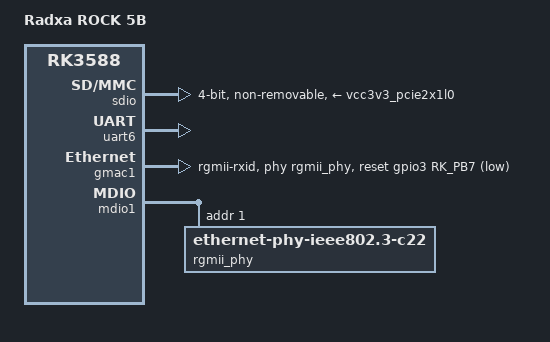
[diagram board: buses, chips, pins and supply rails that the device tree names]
// SPDX-License-Identifier: (GPL-2.0+ OR MIT)

/dts-v1/;

#include "rk3588-rock-5b.dtsi"

/ {
	model = "Radxa ROCK 5B";
	compatible = "radxa,rock-5b", "rockchip,rk3588";
};

&sdio {
	max-frequency = <200000000>;
	no-sd;
	no-mmc;
	non-removable;
	bus-width = <4>;
	cap-sdio-irq;
	disable-wp;
	keep-power-in-suspend;
	wakeup-source;
	sd-uhs-sdr12;
	sd-uhs-sdr25;
	sd-uhs-sdr50;
	sd-uhs-sdr104;
	vmmc-supply = <&vcc3v3_pcie2x1l0>;
	vqmmc-supply = <&vcc_1v8_s3>;
	pinctrl-names = "default";
	pinctrl-0 = <&sdiom0_pins>;
	status = "okay";
};

&uart6 {
	pinctrl-names = "default";
	pinctrl-0 = <&uart6m1_xfer &uart6m1_ctsn &uart6m1_rtsn>;
	status = "okay";
};

&pinctrl {
	usb {
		usbc_sbu_dc: usbc-sbu-dc {
			rockchip,pins = <4 RK_PA6 RK_FUNC_GPIO &pcfg_pull_none>,
					<4 RK_PA7 RK_FUNC_GPIO &pcfg_pull_none>;
		};

		vcc5v0_host_en: vcc5v0-host-en {
			rockchip,pins = <4 RK_PB0 RK_FUNC_GPIO &pcfg_pull_none>;
		};
	};
};

&usb_con {
	power-role = "sink";
};

&usbdp_phy0 {
	pinctrl-names = "default";
	pinctrl-0 = <&usbc_sbu_dc>;
	sbu1-dc-gpios = <&gpio4 RK_PA6 GPIO_ACTIVE_HIGH>;
	sbu2-dc-gpios = <&gpio4 RK_PA7 GPIO_ACTIVE_HIGH>;
};

&vcc5v0_host {
	enable-active-high;
	gpio = <&gpio4 RK_PB0 GPIO_ACTIVE_HIGH>;
	pinctrl-names = "default";
	pinctrl-0 = <&vcc5v0_host_en>;
};

&gmac1 {
	clock_in_out = "output";
	phy-handle = <&rgmii_phy>;
	phy-mode = "rgmii-rxid";
	pinctrl-0 = <&gmac1_rgmii_bus
				&gmac1_rgmii_clk
				&gmac1_rx_bus2
				&gmac1_tx_bus2
				&gmac1_miim>;
	pinctrl-names = "default";
	snps,reset-active-low;
	snps,reset-delays-us = <0 20000 100000>;
	snps,reset-gpio = <&gpio3 RK_PB7 GPIO_ACTIVE_LOW>;
	rx_delay = <0x00>;
	tx_delay = <0x43>;
	status = "okay";
};

&mdio1 {
	rgmii_phy: phy@1 {
		compatible = "ethernet-phy-ieee802.3-c22";
		reg = <0x1>;
	};
};
